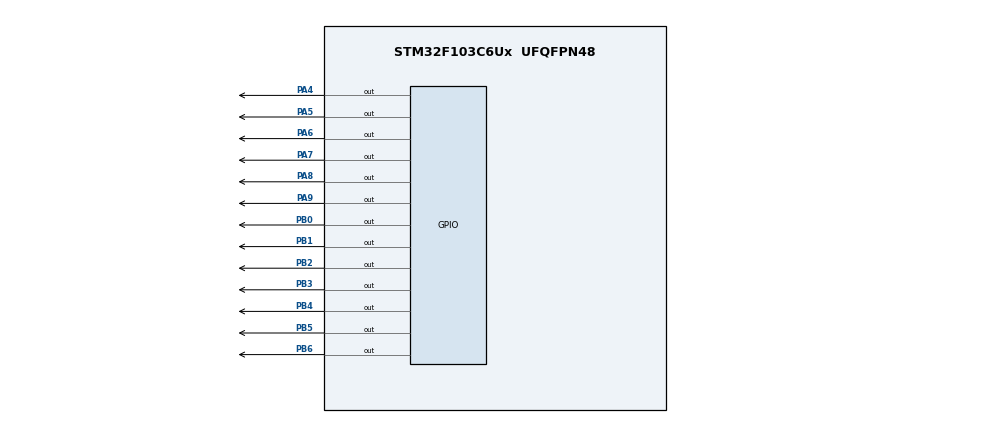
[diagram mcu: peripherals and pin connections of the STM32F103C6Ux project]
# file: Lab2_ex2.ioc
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Mcu.Family=STM32F1
Mcu.Name=STM32F103C6Ux
Mcu.Package=UFQFPN48
NVIC.PriorityGroup=NVIC_PRIORITYGROUP_4
NVIC.TIM2_IRQn=true\:0\:0\:false\:false\:true\:true\:true
PA4.Signal=GPIO_Output
PA5.Signal=GPIO_Output
PA6.Signal=GPIO_Output
PA7.Signal=GPIO_Output
PA8.Signal=GPIO_Output
PA9.Signal=GPIO_Output
PB0.Signal=GPIO_Output
PB1.Signal=GPIO_Output
PB2.Signal=GPIO_Output
PB3.Signal=GPIO_Output
PB4.Signal=GPIO_Output
PB5.Signal=GPIO_Output
PB6.Signal=GPIO_Output
ProjectManager.HeapSize=0x200
ProjectManager.StackSize=0x400
ProjectManager.TargetToolchain=STM32CubeIDE
RCC.APB1Freq_Value=8000000
RCC.APB2Freq_Value=8000000
TIM2.Period=9
TIM2.Prescaler=7999
VP_SYS_VS_ND.Mode=No_Debug
VP_TIM2_VS_ClockSourceINT.Mode=Internal
board=custom

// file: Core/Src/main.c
/* USER CODE BEGIN Header */
/**
  ******************************************************************************
  * @file           : main.c
  * @brief          : Main program body
  ******************************************************************************
  * @attention
  *
  * <h2><center>&copy; Copyright (c) 2022 STMicroelectronics.
  * All rights reserved.</center></h2>
  *
  * This software component is licensed by ST under BSD 3-Clause license,
  * the "License"; You may not use this file except in compliance with the
  * License. You may obtain a copy of the License at:
  *                        opensource.org/licenses/BSD-3-Clause
  *
  ******************************************************************************
  */
/* USER CODE END Header */
#include "main.h"

TIM_HandleTypeDef htim2;

void SystemClock_Config(void);
static void MX_GPIO_Init(void);
static void MX_TIM2_Init(void);

int main(void)
{

  /* MCU Configuration--------------------------------------------------------*/

  /* Reset of all peripherals, Initializes the Flash interface and the Systick. */
  HAL_Init();

  /* Configure the system clock */
  SystemClock_Config();

  /* Initialize all configured peripherals */
  MX_GPIO_Init();
  MX_TIM2_Init();
  /* USER CODE BEGIN 2 */
  HAL_TIM_Base_Start_IT(&htim2);
  /* USER CODE END 2 */

  /* Infinite loop */
  while (1)
  {

  }
}

void SystemClock_Config(void)
{
  RCC_OscInitTypeDef RCC_OscInitStruct = {0};
  RCC_ClkInitTypeDef RCC_ClkInitStruct = {0};

  /** Initializes the RCC Oscillators according to the specified parameters
  * in the RCC_OscInitTypeDef structure.
  */
  RCC_OscInitStruct.OscillatorType = RCC_OSCILLATORTYPE_HSI;
  RCC_OscInitStruct.HSIState = RCC_HSI_ON;
  RCC_OscInitStruct.HSICalibrationValue = RCC_HSICALIBRATION_DEFAULT;
  RCC_OscInitStruct.PLL.PLLState = RCC_PLL_NONE;
  if (HAL_RCC_OscConfig(&RCC_OscInitStruct) != HAL_OK)
  {
    Error_Handler();
  }
  /** Initializes the CPU, AHB and APB buses clocks
  */
  RCC_ClkInitStruct.ClockType = RCC_CLOCKTYPE_HCLK|RCC_CLOCKTYPE_SYSCLK
                              |RCC_CLOCKTYPE_PCLK1|RCC_CLOCKTYPE_PCLK2;
  RCC_ClkInitStruct.SYSCLKSource = RCC_SYSCLKSOURCE_HSI;
  RCC_ClkInitStruct.AHBCLKDivider = RCC_SYSCLK_DIV1;
  RCC_ClkInitStruct.APB1CLKDivider = RCC_HCLK_DIV1;
  RCC_ClkInitStruct.APB2CLKDivider = RCC_HCLK_DIV1;

  if (HAL_RCC_ClockConfig(&RCC_ClkInitStruct, FLASH_LATENCY_0) != HAL_OK)
  {
    Error_Handler();
  }
}

static void MX_TIM2_Init(void)
{

  TIM_ClockConfigTypeDef sClockSourceConfig = {0};
  TIM_MasterConfigTypeDef sMasterConfig = {0};

  htim2.Instance = TIM2;
  htim2.Init.Prescaler = 7999;
  htim2.Init.CounterMode = TIM_COUNTERMODE_UP;
  htim2.Init.Period = 9;
  htim2.Init.ClockDivision = TIM_CLOCKDIVISION_DIV1;
  htim2.Init.AutoReloadPreload = TIM_AUTORELOAD_PRELOAD_DISABLE;
  if (HAL_TIM_Base_Init(&htim2) != HAL_OK)
  {
    Error_Handler();
  }
  sClockSourceConfig.ClockSource = TIM_CLOCKSOURCE_INTERNAL;
  if (HAL_TIM_ConfigClockSource(&htim2, &sClockSourceConfig) != HAL_OK)
  {
    Error_Handler();
  }
  sMasterConfig.MasterOutputTrigger = TIM_TRGO_RESET;
  sMasterConfig.MasterSlaveMode = TIM_MASTERSLAVEMODE_DISABLE;
  if (HAL_TIMEx_MasterConfigSynchronization(&htim2, &sMasterConfig) != HAL_OK)
  {
    Error_Handler();
  }

}

static void MX_GPIO_Init(void)
{
  GPIO_InitTypeDef GPIO_InitStruct = {0};

  /* GPIO Ports Clock Enable */
  __HAL_RCC_GPIOA_CLK_ENABLE();
  __HAL_RCC_GPIOB_CLK_ENABLE();

  /*Configure GPIO pin Output Level */
  HAL_GPIO_WritePin(GPIOA, GPIO_PIN_4|GPIO_PIN_5|GPIO_PIN_6|GPIO_PIN_7
                          |GPIO_PIN_8|GPIO_PIN_9, GPIO_PIN_RESET);

  /*Configure GPIO pin Output Level */
  HAL_GPIO_WritePin(GPIOB, GPIO_PIN_0|GPIO_PIN_1|GPIO_PIN_2|GPIO_PIN_3
                          |GPIO_PIN_4|GPIO_PIN_5|GPIO_PIN_6, GPIO_PIN_RESET);

  /*Configure GPIO pins : PA4 PA5 PA6 PA7
                           PA8 PA9 */
  GPIO_InitStruct.Pin = GPIO_PIN_4|GPIO_PIN_5|GPIO_PIN_6|GPIO_PIN_7
                          |GPIO_PIN_8|GPIO_PIN_9;
  GPIO_InitStruct.Mode = GPIO_MODE_OUTPUT_PP;
  GPIO_InitStruct.Pull = GPIO_NOPULL;
  GPIO_InitStruct.Speed = GPIO_SPEED_FREQ_LOW;
  HAL_GPIO_Init(GPIOA, &GPIO_InitStruct);

  /*Configure GPIO pins : PB0 PB1 PB2 PB3
                           PB4 PB5 PB6 */
  GPIO_InitStruct.Pin = GPIO_PIN_0|GPIO_PIN_1|GPIO_PIN_2|GPIO_PIN_3
                          |GPIO_PIN_4|GPIO_PIN_5|GPIO_PIN_6;
  GPIO_InitStruct.Mode = GPIO_MODE_OUTPUT_PP;
  GPIO_InitStruct.Pull = GPIO_NOPULL;
  GPIO_InitStruct.Speed = GPIO_SPEED_FREQ_LOW;
  HAL_GPIO_Init(GPIOB, &GPIO_InitStruct);

}

/* USER CODE BEGIN 4 */
int counter = 50;
int counter1 = 100;
unsigned int i = 1;
unsigned int j = 1;
void HAL_TIM_PeriodElapsedCallback(TIM_HandleTypeDef * htim ){
	counter --;
	if( counter <= 0){
	counter = 50;
	if(j>4) j = 1;
	Led_State(j++);
	if(i > 4){i = 1;}
	Seven_seg(i++);
	}
	counter1--;
	if(counter1 <= 0){
		counter1 = 100;
		HAL_GPIO_TogglePin(GPIOA, GPIO_PIN_4);
	}

}
/* USER CODE END 4 */
void Led_State(unsigned int i){
	switch(i){
	case 0:
		HAL_GPIO_WritePin(GPIOA, GPIO_PIN_6, SET);
		HAL_GPIO_WritePin(GPIOA, GPIO_PIN_7, SET);
		HAL_GPIO_WritePin(GPIOA, GPIO_PIN_8, SET);
		HAL_GPIO_WritePin(GPIOA, GPIO_PIN_9, SET);
		break;
	case 1:
		HAL_GPIO_WritePin(GPIOA, GPIO_PIN_6, RESET);
		HAL_GPIO_WritePin(GPIOA, GPIO_PIN_7, SET);
		HAL_GPIO_WritePin(GPIOA, GPIO_PIN_8, SET);
		HAL_GPIO_WritePin(GPIOA, GPIO_PIN_9, SET);
		break;
	case 2:
		HAL_GPIO_WritePin(GPIOA, GPIO_PIN_6, SET);
		HAL_GPIO_WritePin(GPIOA, GPIO_PIN_7, RESET);
		HAL_GPIO_WritePin(GPIOA, GPIO_PIN_8, SET);
		HAL_GPIO_WritePin(GPIOA, GPIO_PIN_9, SET);
		break;
	case 3:
		HAL_GPIO_WritePin(GPIOA, GPIO_PIN_6, SET);
		HAL_GPIO_WritePin(GPIOA, GPIO_PIN_7, SET);
		HAL_GPIO_WritePin(GPIOA, GPIO_PIN_8, RESET);
		HAL_GPIO_WritePin(GPIOA, GPIO_PIN_9, SET);
		break;
	case 4:
		HAL_GPIO_WritePin(GPIOA, GPIO_PIN_6, SET);
		HAL_GPIO_WritePin(GPIOA, GPIO_PIN_7, SET);
		HAL_GPIO_WritePin(GPIOA, GPIO_PIN_8, SET);
		HAL_GPIO_WritePin(GPIOA, GPIO_PIN_9, RESET);
		break;
	}
}
void Seven_seg(unsigned int a)
  {
	switch(a){

	case 1:
	{
		  	  HAL_GPIO_WritePin ( GPIOB, GPIO_PIN_0 ,GPIO_PIN_SET );
		  	  HAL_GPIO_WritePin ( GPIOB, GPIO_PIN_1 ,GPIO_PIN_RESET );
		  	  HAL_GPIO_WritePin ( GPIOB, GPIO_PIN_2 ,GPIO_PIN_RESET );
		  	  HAL_GPIO_WritePin ( GPIOB, GPIO_PIN_3 ,GPIO_PIN_SET );
		  	  HAL_GPIO_WritePin ( GPIOB, GPIO_PIN_4 ,GPIO_PIN_SET );
		  	  HAL_GPIO_WritePin ( GPIOB, GPIO_PIN_5 ,GPIO_PIN_SET );
		  	  HAL_GPIO_WritePin ( GPIOB, GPIO_PIN_6 ,GPIO_PIN_SET );
		  	break;
	}
	case 2:
	{
		  	  HAL_GPIO_WritePin ( GPIOB, GPIO_PIN_0 ,GPIO_PIN_RESET );
		  	  HAL_GPIO_WritePin ( GPIOB, GPIO_PIN_1 ,GPIO_PIN_RESET );
		  	  HAL_GPIO_WritePin ( GPIOB, GPIO_PIN_2 ,GPIO_PIN_SET );
		  	  HAL_GPIO_WritePin ( GPIOB, GPIO_PIN_3 ,GPIO_PIN_RESET );
		  	  HAL_GPIO_WritePin ( GPIOB, GPIO_PIN_4 ,GPIO_PIN_RESET );
		  	  HAL_GPIO_WritePin ( GPIOB, GPIO_PIN_5 ,GPIO_PIN_SET );
		  	  HAL_GPIO_WritePin ( GPIOB, GPIO_PIN_6 ,GPIO_PIN_RESET );
		  	break;
	}
	case 4:
	{
		  	  HAL_GPIO_WritePin ( GPIOB, GPIO_PIN_0 ,GPIO_PIN_RESET );
		  	  HAL_GPIO_WritePin ( GPIOB, GPIO_PIN_1 ,GPIO_PIN_RESET );
		  	  HAL_GPIO_WritePin ( GPIOB, GPIO_PIN_2 ,GPIO_PIN_RESET );
		  	  HAL_GPIO_WritePin ( GPIOB, GPIO_PIN_3 ,GPIO_PIN_RESET );
		  	  HAL_GPIO_WritePin ( GPIOB, GPIO_PIN_4 ,GPIO_PIN_RESET );
		  	  HAL_GPIO_WritePin ( GPIOB, GPIO_PIN_5 ,GPIO_PIN_RESET );
		  	  HAL_GPIO_WritePin ( GPIOB, GPIO_PIN_6 ,GPIO_PIN_SET );
		  	  break;
	}
	case 3:
	{
		  	  HAL_GPIO_WritePin ( GPIOB, GPIO_PIN_0 ,GPIO_PIN_RESET );
		  	  HAL_GPIO_WritePin ( GPIOB, GPIO_PIN_1 ,GPIO_PIN_RESET );
		  	  HAL_GPIO_WritePin ( GPIOB, GPIO_PIN_2 ,GPIO_PIN_RESET );
		  	  HAL_GPIO_WritePin ( GPIOB, GPIO_PIN_3 ,GPIO_PIN_RESET );
		  	  HAL_GPIO_WritePin ( GPIOB, GPIO_PIN_4 ,GPIO_PIN_SET );
		  	  HAL_GPIO_WritePin ( GPIOB, GPIO_PIN_5 ,GPIO_PIN_SET );
		  	  HAL_GPIO_WritePin ( GPIOB, GPIO_PIN_6 ,GPIO_PIN_RESET );
		  	break;
	}
	/*case 5:
	{
		  	  HAL_GPIO_WritePin ( GPIOB, GPIO_PIN_0 ,GPIO_PIN_RESET );
		  	  HAL_GPIO_WritePin ( GPIOB, GPIO_PIN_1 ,GPIO_PIN_RESET );
		  	  HAL_GPIO_WritePin ( GPIOB, GPIO_PIN_2 ,GPIO_PIN_RESET );
		  	  HAL_GPIO_WritePin ( GPIOB, GPIO_PIN_3 ,GPIO_PIN_RESET );
		  	  HAL_GPIO_WritePin ( GPIOB, GPIO_PIN_4 ,GPIO_PIN_RESET );
		  	  HAL_GPIO_WritePin ( GPIOB, GPIO_PIN_5 ,GPIO_PIN_RESET );
		  	  HAL_GPIO_WritePin ( GPIOB, GPIO_PIN_6 ,GPIO_PIN_SET );
		  	  break;
	}*/

	}
}
void Error_Handler(void)
{
  __disable_irq();
  while (1)
  {
  }
}

/************************ (C) COPYRIGHT STMicroelectronics *****END OF FILE****/
